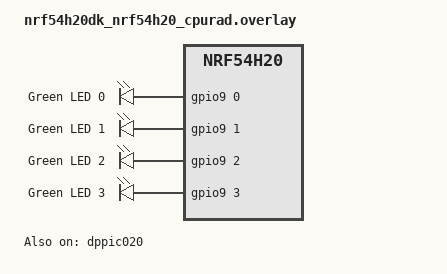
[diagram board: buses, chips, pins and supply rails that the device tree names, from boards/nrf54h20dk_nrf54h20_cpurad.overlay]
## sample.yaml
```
sample:
  name: ESB monitor sample
common:
  harness: console
  harness_config:
    type: multi_line
    ordered: true
    regex:
      - "Enhanced ShockBurst monitor sample"
      - "Initialization complete"
      - "Start receiving packets"
  timeout: 15

tests:
  sample.esb.monitor:
    sysbuild: true
    filter: CONFIG_UART_CONSOLE and CONFIG_SERIAL_SUPPORT_INTERRUPT
    integration_platforms:
      - nrf52dk/nrf52832
      - nrf52840dk/nrf52840
      - nrf5340dk/nrf5340/cpunet
      - nrf54l15dk/nrf54l05/cpuapp
      - nrf54l15dk/nrf54l10/cpuapp
      - nrf54l15dk/nrf54l15/cpuapp
      - nrf54lm20dk/nrf54lm20a/cpuapp
      - nrf54ls05dk/nrf54ls05b/cpuapp
    platform_allow:
      - nrf52dk/nrf52832
      - nrf52840dk/nrf52840
      - nrf5340dk/nrf5340/cpunet
      - nrf54l15dk/nrf54l05/cpuapp
      - nrf54l15dk/nrf54l10/cpuapp
      - nrf54l15dk/nrf54l15/cpuapp
      - nrf54lm20dk/nrf54lm20a/cpuapp
      - nrf54lm20dk/nrf54lm20b/cpuapp
      - nrf54ls05dk/nrf54ls05b/cpuapp
    tags:
      - esb
      - samples
      - console
      - sysbuild
      - ci_samples_esb
  sample.esb.monitor.dynamic_irq:
    sysbuild: true
    extra_configs:
      - CONFIG_ESB_DYNAMIC_INTERRUPTS=y
      - CONFIG_DYNAMIC_INTERRUPTS=y
      - CONFIG_DYNAMIC_DIRECT_INTERRUPTS=y
      - CONFIG_MPSL_DYNAMIC_INTERRUPTS=y
    integration_platforms:
      - nrf5340dk/nrf5340/cpunet
      - nrf52840dk/nrf52840
      - nrf54l15dk/nrf54l05/cpuapp
      - nrf54l15dk/nrf54l10/cpuapp
      - nrf54l15dk/nrf54l15/cpuapp
      - nrf54lm20dk/nrf54lm20a/cpuapp
      - nrf54ls05dk/nrf54ls05b/cpuapp
    platform_allow:
      - nrf5340dk/nrf5340/cpunet
      - nrf52840dk/nrf52840
      - nrf54l15dk/nrf54l05/cpuapp
      - nrf54l15dk/nrf54l10/cpuapp
      - nrf54l15dk/nrf54l15/cpuapp
      - nrf54lm20dk/nrf54lm20a/cpuapp
      - nrf54lm20dk/nrf54lm20b/cpuapp
      - nrf54ls05dk/nrf54ls05b/cpuapp
    tags:
      - esb
      - ci_build
      - sysbuild
      - ci_samples_esb
```

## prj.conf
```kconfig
#
# Copyright (c) 2025 Nordic Semiconductor ASA
#
# SPDX-License-Identifier: LicenseRef-Nordic-5-Clause
#
CONFIG_NCS_SAMPLES_DEFAULTS=y
CONFIG_ESB=y
CONFIG_DK_LIBRARY=y
CONFIG_CLOCK_CONTROL=y
CONFIG_ESB_CLOCK_INIT=y
```

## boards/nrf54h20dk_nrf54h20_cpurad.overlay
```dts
/*
 * Copyright (c) 2025 Nordic Semiconductor ASA
 *
 * SPDX-License-Identifier: LicenseRef-Nordic-5-Clause
 */

/ {
	leds {
		compatible = "gpio-leds";

		led0: led_0 {
			gpios = <&gpio9 0 GPIO_ACTIVE_HIGH>;
			label = "Green LED 0";
		};

		led1: led_1 {
			gpios = <&gpio9 1 GPIO_ACTIVE_HIGH>;
			label = "Green LED 1";
		};

		led2: led_2 {
			gpios = <&gpio9 2 GPIO_ACTIVE_HIGH>;
			label = "Green LED 2";
		};

		led3: led_3 {
			gpios = <&gpio9 3 GPIO_ACTIVE_HIGH>;
			label = "Green LED 3";
		};
	};

	aliases {
		led0 = &led0;
		led1 = &led1;
		led2 = &led2;
		led3 = &led3;
	};

	cpurad_cpusys_errata216_mboxes: errata216_mboxes {
		compatible = "zephyr,mbox-ipm";
		status = "okay";
		mboxes = <&cpusys_vevif 0x14>, <&cpusys_vevif 0x15>;
		mbox-names = "on_req", "off_req";
	};
};

&gpio9 {
	status = "okay";
};

&gpio0 {
	status = "okay";
};

&gpiote130 {
	owned-channels = <0 1 2 3 4 5 6 7>;
	status = "okay";
};

&dppic020 {
	status = "okay";
	source-channels = <0 1 2 3 4 5>;
	sink-channels = <6 7 8 9 10 11>;
};
```

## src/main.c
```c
/*
 * Copyright (c) 2025 Nordic Semiconductor ASA
 *
 * SPDX-License-Identifier: LicenseRef-Nordic-5-Clause
 */
#include <zephyr/logging/log.h>
#include <esb.h>
#include <zephyr/kernel.h>
#include <zephyr/types.h>
#include <dk_buttons_and_leds.h>
#if defined(CONFIG_ESB_SNIFFER)
#include <zephyr/sys/byteorder.h>
#include <SEGGER_RTT.h>
#include "sniffer.h"
#endif /* defined(CONFIG_ESB_SNIFFER) */

LOG_MODULE_REGISTER(esb_monitor, CONFIG_ESB_MONITOR_APP_LOG_LEVEL);

#if defined(CONFIG_ESB_SNIFFER)
static struct rtt_frame packet;
#else
static struct esb_payload rx_payload;
#endif /* defined(CONFIG_ESB_SNIFFER) */

#if defined(CONFIG_LED_ENABLE) && !defined(CONFIG_ESB_SNIFFER)
static void leds_update(uint8_t value)
{
	uint32_t leds_mask =
		(!(value % 8 > 0 && value % 8 <= 4) ? DK_LED1_MSK : 0) |
		(!(value % 8 > 1 && value % 8 <= 5) ? DK_LED2_MSK : 0) |
		(!(value % 8 > 2 && value % 8 <= 6) ? DK_LED3_MSK : 0) |
		(!(value % 8 > 3) ? DK_LED4_MSK : 0);

	dk_set_leds(leds_mask);
}
#endif /* defined(CONFIG_LED_ENABLE) && !defined(CONFIG_ESB_SNIFFER) */

#if defined(CONFIG_ESB_SNIFFER)
static void log_packet(void)
{
	uint32_t cycles, ms, len;

	cycles = k_cycle_get_32();
	ms = k_cyc_to_ms_floor32(cycles);
	/* Calculate remaing cycles */
	cycles = cycles - (ms * (CONFIG_SYS_CLOCK_HW_CYCLES_PER_SEC / 1000));

	/* htonl */
	packet.us = sys_cpu_to_be32(k_cyc_to_us_floor32(cycles));
	packet.ms = sys_cpu_to_be32(ms);

	SEGGER_RTT_LOCK();
	len = SEGGER_RTT_WriteNoLock(CONFIG_ESB_SNIFFER_RTT_DATA_CHANNEL,
					&packet, sizeof(struct rtt_frame));
	SEGGER_RTT_UNLOCK();
	if (len < sizeof(struct rtt_frame)) {
		LOG_ERR("RTT failed to write, rtt buffer too small");
	}
}
#else
static void log_packet(void)
{
	LOG_INF("%u: length = %d, pipe = %d, rssi = %d, noack = %d, pid = %d",
				k_cyc_to_ms_floor32(k_cycle_get_32()), rx_payload.length,
				rx_payload.pipe, rx_payload.rssi, rx_payload.noack, rx_payload.pid);

	LOG_HEXDUMP_INF(rx_payload.data, rx_payload.length, "data:");
	LOG_INF("--------------------------------------------------------------");
}
#endif /* !defined(CONFIG_ESB_SNIFFER) */

void event_handler(struct esb_evt const *event)
{
	switch (event->evt_id) {
	case ESB_EVENT_RX_RECEIVED:
#if defined(CONFIG_ESB_SNIFFER)
		struct esb_payload *payload = &packet.payload;
#else
		struct esb_payload *payload = &rx_payload;
#endif /* !defined(CONFIG_ESB_SNIFFER) */
		int err;

		while ((err = esb_read_rx_payload(payload)) == 0) {
			log_packet();

#if defined(CONFIG_LED_ENABLE) && !defined(CONFIG_ESB_SNIFFER)
			leds_update(rx_payload.data[1]);
#endif /* defined(CONFIG_LED_ENABLE) && !defined(CONFIG_ESB_SNIFFER) */
		}
		if (err && err != -ENODATA) {
			LOG_ERR("Error while reading rx packet");
		}
		break;
	default:
		/* Should never happen */
		LOG_ERR("Unexpected ESB event");
	}
}

int esb_initialize(void)
{
	int err;
	/* These are arbitrary default addresses. In end user products
	 * different addresses should be used for each set of devices.
	 */
	uint8_t base_addr_0[4] = {0xE7, 0xE7, 0xE7, 0xE7};
	uint8_t base_addr_1[4] = {0xC2, 0xC2, 0xC2, 0xC2};
	uint8_t addr_prefix[8] = {0xE7, 0xC2, 0xC3, 0xC4, 0xC5, 0xC6, 0xC7, 0xC8};

	struct esb_config config = ESB_DEFAULT_CONFIG;

	config.protocol = ESB_PROTOCOL_ESB_DPL;
	config.bitrate = ESB_BITRATE_2MBPS;
	config.mode = ESB_MODE_MONITOR;
	config.event_handler = event_handler;
	config.use_fast_ramp_up = true;

	err = esb_init(&config);
	if (err) {
		return err;
	}

	err = esb_set_base_address_0(base_addr_0);
	if (err) {
		return err;
	}

	err = esb_set_base_address_1(base_addr_1);
	if (err) {
		return err;
	}

	err = esb_set_prefixes(addr_prefix, ARRAY_SIZE(addr_prefix));
	if (err) {
		return err;
	}

	return 0;
}

int main(void)
{
	int err;

	LOG_INF("Enhanced ShockBurst monitor sample");

	err = dk_leds_init();
	if (err) {
		LOG_ERR("LEDs initialization failed, err %d", err);
		return 0;
	}

	err = esb_initialize();
	if (err) {
		LOG_ERR("ESB initialization failed, err %d", err);
		return 0;
	}

	LOG_INF("Initialization complete");

#if defined(CONFIG_ESB_SNIFFER)
	err = sniffer_init();
	if (err) {
		LOG_ERR("Sniffer initialization failed, err %d", err);
		return 0;
	}
#else
	err = esb_start_rx();
	if (err) {
		LOG_ERR("ESB start monitor failed, err %d", err);
		return 0;
	}

	LOG_INF("Start receiving packets");
#endif /* !defined(CONFIG_ESB_SNIFFER) */

	/* return to idle thread */
	return 0;
}
```

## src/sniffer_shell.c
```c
/*
 * Copyright (c) 2025 Nordic Semiconductor ASA
 *
 * SPDX-License-Identifier: LicenseRef-Nordic-5-Clause
 */
#include <zephyr/shell/shell.h>
#include <stdlib.h>
#include <ctype.h>
#include <esb.h>

#include "sniffer.h"

static struct esb_sniffer_cfg *cfg;
static bool was_running;
static bool is_init;

static const char * const br_str[] = {
	"1MBPS",
	"2MBPS",
	"1MBPS_BLE",

#if defined(RADIO_MODE_MODE_Nrf_250Kbit)
	"250KBPS",
#endif /* defined(RADIO_MODE_MODE_Nrf_250Kbit) */

#if defined(RADIO_MODE_MODE_Ble_2Mbit)
	"2MBPS_BLE",
#endif /* defined(RADIO_MODE_MODE_Ble_2Mbit) */

#if defined(RADIO_MODE_MODE_Nrf_4Mbit_0BT6)
	"4MBPS",
#endif /* defined(RADIO_MODE_MODE_Nrf_4Mbit_0BT6) */

	NULL
};

static const char *bitrate_to_str(enum esb_bitrate br)
{
	switch (br) {
	case ESB_BITRATE_1MBPS:
		return br_str[0];
	case ESB_BITRATE_2MBPS:
		return br_str[1];
	case ESB_BITRATE_1MBPS_BLE:
		return br_str[2];

#if defined(RADIO_MODE_MODE_Nrf_250Kbit)
	case ESB_BITRATE_250KBPS:
		return "250KBPS";
#endif /* defined(RADIO_MODE_MODE_Nrf_250Kbit) */

#if defined(RADIO_MODE_MODE_Ble_2Mbit)
	case ESB_BITRATE_2MBPS_BLE:
		return "2MBPS_BLE";
#endif /* defined(RADIO_MODE_MODE_Ble_2Mbit) */

#if defined(RADIO_MODE_MODE_Nrf_4Mbit_0BT6)
	case ESB_BITRATE_4MBPS:
		return "4MBPS";
#endif /* defined(RADIO_MODE_MODE_Nrf_4Mbit_0BT6) */
	};

	return "";
}

static int user_input_to_bitrate(char *str, enum esb_bitrate *br)
{
	char *ptr;

	ptr = str;
	while (*ptr) {
		*ptr = toupper(*ptr);
		ptr++;
	}

	if (strcmp(br_str[0], str) == 0) {
		*br = ESB_BITRATE_1MBPS;
		return 0;
	}

	if (strcmp(br_str[1], str) == 0) {
		*br = ESB_BITRATE_2MBPS;
		return 0;
	}

	if (strcmp(br_str[2], str) == 0) {
		*br = ESB_BITRATE_1MBPS_BLE;
		return 0;
	}

#if defined(RADIO_MODE_MODE_Nrf_250Kbit)
	if (strcmp("250KBPS", str) == 0) {
		*br = ESB_BITRATE_250KBPS;
		return 0;
	}
#endif /* defined(RADIO_MODE_MODE_Nrf_250Kbit) */

#if defined(RADIO_MODE_MODE_Ble_2Mbit)
	if (strcmp("2MBPS_BLE", str) == 0) {
		*br = ESB_BITRATE_2MBPS_BLE;
		return 0;
	}
#endif /* defined(RADIO_MODE_MODE_Ble_2Mbit) */

#if defined(RADIO_MODE_MODE_Nrf_4Mbit_0BT6)
	if (strcmp("4MBPS", str) == 0) {
		*br = ESB_BITRATE_4MBPS;
		return 0;
	}
#endif /* defined(RADIO_MODE_MODE_Nrf_4Mbit_0BT6) */

	/* Bitrate not found */
	return -1;
}

static int user_input_to_addr(char *str, uint8_t *addr)
{
	char *ptr;
	int i;

	ptr = strtok(str, ".");
	for (i = 0; i < 4; i++) {
		if (ptr != NULL) {
			addr[i] = (uint8_t)strtol(ptr, (char **)NULL, 16);
			ptr = strtok(NULL, ".");
		} else {
			break;
		}
	}

	return (i == 4) ? 0 : -1;
}

static int user_input_to_pipes(char **argv, int argc, uint8_t *pipes)
{
	int pipe;

	if (strcmp(argv[1], "all") == 0) {
		*pipes = 0xFF;
		return 0;
	}

	for (int i = 1; i < argc; i++) {
		pipe = strtol(argv[i], (char **)NULL, 10);

		if (pipe == 0 && argv[1][0] != '0') {
			return -1;
		}

		if (pipe < 0 || pipe > 7) {
			return -1;
		}
		*pipes |= (1 << pipe);
	}

	return 0;
}

static int sniff_cmd_show(const struct shell *shell, size_t argc, char **argv)
{
	uint32_t channel;

	esb_get_rf_channel(&channel);

	shell_print(shell, "Current sniffer config:");
	shell_print(shell, "Is running: %d", cfg->is_running);
	shell_print(shell, "Channel: %d", channel);
	shell_print(shell, "Bitrate: %s", bitrate_to_str(cfg->bitrate));

	shell_print(shell, "Base address 0: %02X.%02X.%02X.%02X",
						cfg->base_addr0[0], cfg->base_addr0[1],
						 cfg->base_addr0[2], cfg->base_addr0[3]);

	shell_print(shell, "Base address 1: %02X.%02X.%02X.%02X",
						cfg->base_addr1[0], cfg->base_addr1[1],
						 cfg->base_addr1[2], cfg->base_addr1[3]);

	shell_print(shell, "Pipe prefixes: %02X.%02X.%02X.%02X %02X.%02X.%02X.%02X",
				cfg->pipe_prefix[0], cfg->pipe_prefix[1], cfg->pipe_prefix[2],
				 cfg->pipe_prefix[3], cfg->pipe_prefix[4], cfg->pipe_prefix[5],
							cfg->pipe_prefix[6], cfg->pipe_prefix[7]);

	shell_print(shell, "Enabled pipes: %02X", cfg->enabled_pipes);
	return 0;
}

static int sniff_cmd_start(const struct shell *shell, size_t argc, char **argv)
{
	int err = 0;

	was_running = false;
	if (!cfg->is_running) {
		err = esb_start_rx();
	} else {
		return 0;
	}

	if (err) {
		shell_error(shell, "Failed to start sniffer, err: %d", err);
		return err;
	}

	cfg->is_running = true;
	shell_print(shell, "Sniffer started");
	return 0;
}

static int sniff_set_prev_state(const struct shell *shell, size_t argc, char **argv)
{
	if (was_running) {
		return sniff_cmd_start(shell, argc, argv);
	}

	return 0;
}

static int sniff_cmd_stop(const struct shell *shell, size_t argc, char **argv)
{
	int err;

	if (cfg->is_running) {
		/* Called internally, not by user interaction */
		if (argc == 0) {
			was_running = true;
		}

		err = esb_stop_rx();
	} else {
		return 0;
	}

	if (err) {
		shell_error(shell, "Failed to stop sniffer, err: %d", err);
		return err;
	}

	cfg->is_running = false;
	shell_print(shell, "Sniffer stopped");
	return 0;
}

static int sniff_cmd_set_channel(const struct shell *shell, size_t argc, char **argv)
{
	int err;
	uint32_t ch;

	ch = strtol(argv[1], (char **)NULL, 10);
	if (ch == 0 && argv[1][0] != '0') {
		shell_error(shell, "Failed to parse channel");
		return -EINVAL;
	}

	if (ch > 100) {
		shell_fprintf_impl(shell, SHELL_OPTION, "Channel range: <0, 100>\n");
		return -EINVAL;
	}

	sniff_cmd_stop(shell, 0, argv);
	err = esb_set_rf_channel(ch);
	if (err) {
		shell_error(shell, "Failed to set channel, err: %d", err);
		return err;
	}
	sniff_set_prev_state(shell, argc, argv);

	shell_print(shell, "Setting channel to %d", ch);
	return 0;
}

static int sniff_cmd_set_bitrate(const struct shell *shell, size_t argc, char **argv)
{
	enum esb_bitrate br;
	int err;

	if (argc < 2) {
		shell_help(shell);
		shell_fprintf_impl(shell, SHELL_OPTION, "Possible bitrates:\n");
		for (size_t i = 0; br_str[i] != NULL; i++) {
			shell_fprintf_impl(shell, SHELL_OPTION, "- %s\n", br_str[i]);
		}

		return 0;
	}

	err = user_input_to_bitrate(argv[1], &br);
	if (err < 0) {
		shell_error(shell, "Unknown bitrate");
		return -EINVAL;
	}

	sniff_cmd_stop(shell, 0, argv);
	err = esb_set_bitrate(br);
	if (err) {
		shell_error(shell, "Failed to set bitrate, err: %d", err);
		return err;
	}
	sniff_set_prev_state(shell, argc, argv);

	cfg->bitrate = br;
	shell_print(shell, "Setting bitrate to %s", bitrate_to_str(br));
	return 0;
}

static int sniff_cmd_set_addr0(const struct shell *shell, size_t argc, char **argv)
{
	uint8_t new_addr[4];
	int err;

	err = user_input_to_addr(argv[1], new_addr);
	if (err) {
		shell_error(shell, "Failed to parse address");
		return -EINVAL;
	}

	sniff_cmd_stop(shell, 0, argv);
	err = esb_set_base_address_0(new_addr);
	if (err) {
		shell_error(shell, "Failed to set address 0, err: %d", err);
		return err;
	}
	sniff_set_prev_state(shell, argc, argv);

	memcpy(cfg->base_addr0, new_addr, 4);
	shell_print(shell, "Setting address 0 to %02X.%02X.%02X.%02X", new_addr[0], new_addr[1],
									new_addr[2], new_addr[3]);

	return 0;
}

static int sniff_cmd_set_addr1(const struct shell *shell, size_t argc, char **argv)
{
	uint8_t new_addr[4];
	int err;

	err = user_input_to_addr(argv[1], new_addr);
	if (err) {
		shell_error(shell, "Failed to parse address");
		return -EINVAL;
	}

	sniff_cmd_stop(shell, 0, argv);
	err = esb_set_base_address_1(new_addr);
	if (err) {
		shell_error(shell, "Failed to set address 1, err: %d", err);
		return err;
	}
	sniff_set_prev_state(shell, argc, argv);

	memcpy(cfg->base_addr1, new_addr, 4);
	shell_print(shell, "Setting address 1 to %02X.%02X.%02X.%02X", new_addr[0], new_addr[1],
									new_addr[2], new_addr[3]);

	return 0;
}

static int sniff_cmd_set_prefix(const struct shell *shell, size_t argc, char **argv)
{
	uint8_t new_prefix[8];
	int err, err2;

	err = user_input_to_addr(argv[1], new_prefix);
	err2 = user_input_to_addr(argv[2], &new_prefix[4]);
	if (err || err2) {
		shell_error(shell, "Failed to parse prefix");
		return -EINVAL;
	}

	sniff_cmd_stop(shell, 0, argv);
	err = esb_set_prefixes(new_prefix, 8);
	if (err) {
		shell_error(shell, "Failed to set prefixes, err: %d", err);
		return err;
	}
	sniff_set_prev_state(shell, argc, argv);

	memcpy(cfg->pipe_prefix, new_prefix, 8);
	shell_print(shell, "Setting prefixes to %02X.%02X.%02X.%02X %02X.%02X.%02X.%02X",
				new_prefix[0], new_prefix[1], new_prefix[2], new_prefix[3],
				 new_prefix[4], new_prefix[5], new_prefix[6], new_prefix[7]);
	return 0;
}

static int sniff_cmd_pipe_enable(const struct shell *shell, size_t argc, char **argv)
{
	int err;
	uint8_t pipes_to_en;

	pipes_to_en = cfg->enabled_pipes;
	err = user_input_to_pipes(argv, argc, &pipes_to_en);
	if (err) {
		shell_error(shell, "Failed to parse pipes");
		return -EINVAL;
	}

	sniff_cmd_stop(shell, 0, argv);
	err = esb_enable_pipes(pipes_to_en);
	if (err) {
		shell_error(shell, "Failed to enable specified pipes, err: %d", err);
		return err;
	}
	sniff_set_prev_state(shell, argc, argv);

	cfg->enabled_pipes = pipes_to_en;
	shell_print(shell, "Enabled pipes: %02X", cfg->enabled_pipes);
	return 0;
}

static int sniff_cmd_pipe_disable(const struct shell *shell, size_t argc, char **argv)
{
	int err;
	uint8_t pipes_to_en;

	pipes_to_en = 0;
	err = user_input_to_pipes(argv, argc, &pipes_to_en);
	if (err) {
		shell_error(shell, "Failed to parse pipes");
		return -EINVAL;
	}
	pipes_to_en = (cfg->enabled_pipes & ~pipes_to_en);

	sniff_cmd_stop(shell, 0, argv);
	err = esb_enable_pipes(pipes_to_en);
	if (err) {
		shell_error(shell, "Failed to disable specified pipes, err: %d", err);
		return err;
	}
	sniff_set_prev_state(shell, argc, argv);

	cfg->enabled_pipes = pipes_to_en;
	shell_print(shell, "Disabled pipes: %02X", (uint8_t)~cfg->enabled_pipes);

	return 0;
}

static int sniff_cmd_pipe_prefix(const struct shell *shell, size_t argc, char **argv)
{
	int err;
	uint8_t pipe, prefix;

	pipe = strtol(argv[1], (char **)NULL, 10);
	if (pipe == 0 && argv[1][0] != '0') {
		shell_error(shell, "Failed to parse pipe number");
		return -EINVAL;
	}
	if (pipe < 0 || pipe > 7) {
		shell_error(shell, "Wrong pipe number");
		return -EINVAL;
	}
	prefix = (uint8_t)strtol(argv[2], (char **)NULL, 16);

	sniff_cmd_stop(shell, 0, argv);
	err = esb_update_prefix(pipe, prefix);
	if (err) {
		shell_error(shell, "Failed to update prefix on selected pipe, err: %d", err);
		return err;
	}
	sniff_set_prev_state(shell, argc, argv);

	cfg->pipe_prefix[pipe] = prefix;
	shell_print(shell, "Set pipe %u prefix to %02X", pipe, cfg->pipe_prefix[pipe]);
	return 0;
}

void sniffer_shell_init(struct esb_sniffer_cfg *sniffer_cfg)
{
	if (is_init || !sniffer_cfg) {
		return;
	}
	cfg = sniffer_cfg;
	is_init = true;

	SHELL_STATIC_SUBCMD_SET_CREATE(set_subcmds,
		SHELL_CMD_ARG(
			channel, NULL,
			"Set channel to listen on\n"
			"Ussage: sniffer set channel {ch_number}\n",
			sniff_cmd_set_channel, 2, 0
		),
		SHELL_CMD_ARG(
			bitrate, NULL,
			"Set bitrate\n"
			"Ussage: sniffer set bitrate {bitrate}\n",
			sniff_cmd_set_bitrate, 1, 1
		),
		SHELL_CMD_ARG(
			addr0, NULL,
			"Set base address 0\n"
			"Ussage: sniffer set addr0 {xx.xx.xx.xx}\n",
			sniff_cmd_set_addr0, 2, 0
		),
		SHELL_CMD_ARG(
			addr1, NULL,
			"Set base address 1\n"
			"Ussage: sniffer set addr1 {xx.xx.xx.xx}\n",
			sniff_cmd_set_addr1, 2, 0
		),
		SHELL_CMD_ARG(
			prefix, NULL,
			"Set prefix\n"
			"Ussage: sniffer set prefix {xx.xx.xx.xx} {xx.xx.xx.xx}\n",
			sniff_cmd_set_prefix, 3, 0
		),
		SHELL_SUBCMD_SET_END
	);

	SHELL_STATIC_SUBCMD_SET_CREATE(pipe_subcmds,
		SHELL_CMD_ARG(
			enable, NULL,
			"Enable selected pipes\n"
			"Ussage: sniffer pipe enable {pipe_number | all} ...\n",
			sniff_cmd_pipe_enable, 2, 7
		),
		SHELL_CMD_ARG(
			disable, NULL,
			"Disable selected pipes\n"
			"Ussage: sniffer pipe disable {pipe_number | all} ...\n",
			sniff_cmd_pipe_disable, 2, 7
		),
		SHELL_CMD_ARG(
			prefix, NULL,
			"Set prefix on selected pipe\n"
			"Ussage: sniffer pipe prefix {pipe_number} {prefix}\n",
			sniff_cmd_pipe_prefix, 3, 0
		),
		SHELL_SUBCMD_SET_END
	);

	SHELL_STATIC_SUBCMD_SET_CREATE(sniffer_subcmds,
		SHELL_CMD_ARG(
			show, NULL,
			"Show actual configuration",
			sniff_cmd_show, 1, 0
		),
		SHELL_CMD_ARG(
			start, NULL,
			"Start listening",
			sniff_cmd_start, 1, 0
		),
		SHELL_CMD_ARG(
			stop, NULL,
			"Stop listening",
			sniff_cmd_stop, 1, 0
		),
		SHELL_CMD_ARG(
			set, &set_subcmds,
			"Change parameters of sniffer",
			NULL, 0, 0
		),
		SHELL_CMD_ARG(
			pipe, &pipe_subcmds,
			"Change parameters of pipes",
			NULL, 0, 0
		),
		SHELL_SUBCMD_SET_END
	);
	SHELL_CMD_REGISTER(sniffer, &sniffer_subcmds, "Sniffer management command", NULL);
}
```
